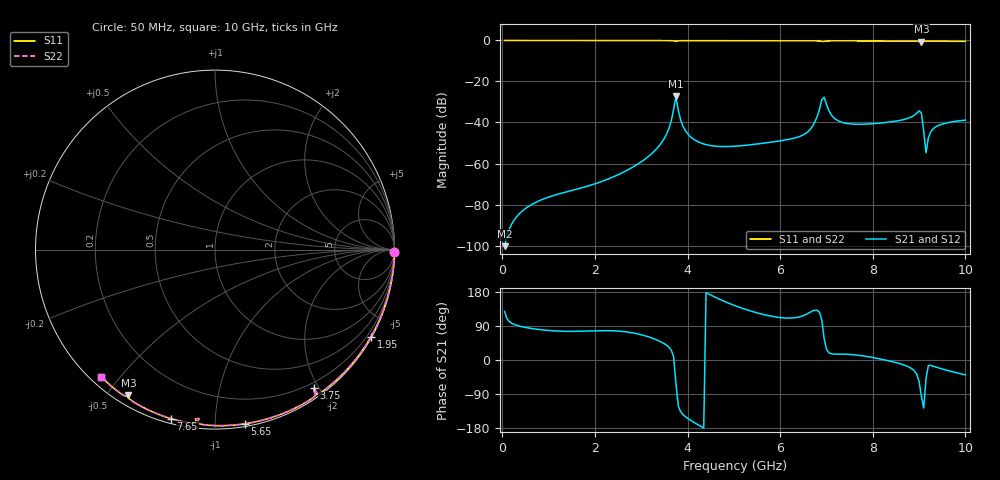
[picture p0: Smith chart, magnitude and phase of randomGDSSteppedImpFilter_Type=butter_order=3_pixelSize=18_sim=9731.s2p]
! freq	dB(S11)	phase(S11)	dB(S12)	phase(S12)
!  dB(S21)	phase(S21)	dB(S22)	phase(S22)
!S-par simulation data
#  GHz  S  DB  R 50
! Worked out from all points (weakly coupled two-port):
!   200 points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, 50 MHz to 10 GHz, reference 50 ohm
!   highest |S21| = -27.28 dB at 3.75 GHz (marker M1); lowest = -100.3 dB at 50 MHz (marker M2)
!   lowest |S11| = -0.5 dB at 9.05 GHz (marker M3), VSWR 33.93, Z = 1.95 - j28.4 ohm
!   |S11| at or under -10 dB: nowhere
!   |S22| runs from -0.5 to 0.0 dB; largest |S21 - S12| = 0
!   S11 on the Smith chart (normalised r, x): 50 MHz: open; 1.95 GHz: 0.03, -3.83; 3.75 GHz: 0.13, -1.93; 5.65 GHz: 0.02, -1.19; 7.65 GHz: 0.02, -0.77; 10 GHz: 0.03, -0.45
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0.05  -0.00 -0.8  -100.31 127.9  -100.31 127.9  -0.00 -0.8
1.75  -0.03 -26.3  -71.62 76.1  -71.62 76.1  -0.03 -26.3
1.95  -0.04 -29.2  -70.27 76.9  -70.27 76.9  -0.04 -29.2
2.8  -0.05 -41.6  -62.01 71.9  -62.01 71.9  -0.05 -41.6
3.4  -0.07 -50.2  -51.02 49.4  -51.02 49.4  -0.07 -50.2
3.6  -0.08 -53.3  -42.82 33.5  -42.82 33.5  -0.08 -53.3
3.75  -0.47 -54.6  -27.28 -62.6  -27.28 -62.6  -0.47 -54.6
3.9  -0.09 -56.5  -41.74 -143.7  -41.74 -143.7  -0.09 -56.5
4.1  -0.09 -59.5  -47.65 -161.8  -47.65 -161.8  -0.09 -59.5
5.05  -0.11 -72.4  -51.52 142.2  -51.52 142.2  -0.11 -72.4
5.65  -0.13 -80.2  -50.07 119.7  -50.07 119.7  -0.13 -80.2
6.4  -0.17 -89.8  -46.99 113.3  -46.99 113.3  -0.17 -89.8
6.7  -0.20 -93.7  -41.76 129.8  -41.76 129.8  -0.20 -93.7
6.95  -0.49 -95.4  -27.66 56.4  -27.66 56.4  -0.49 -95.4
7.2  -0.21 -98.9  -38.43 15.5  -38.43 15.5  -0.21 -98.9
7.65  -0.24 -104.6  -40.86 13.0  -40.86 13.0  -0.24 -104.6
8.35  -0.29 -112.9  -39.81 -2.3  -39.81 -2.3  -0.29 -112.9
9.05  -0.51 -120.8  -35.37 -95.3  -35.37 -95.3  -0.51 -120.8
9.15  -0.38 -121.6  -54.78 -48.7  -54.78 -48.7  -0.38 -121.6
9.2  -0.37 -122.3  -47.49 -14.8  -47.49 -14.8  -0.37 -122.3
9.3  -0.37 -123.6  -43.16 -16.0  -43.16 -16.0  -0.37 -123.6
10  -0.44 -131.7  -38.83 -39.4  -38.83 -39.4  -0.44 -131.7
